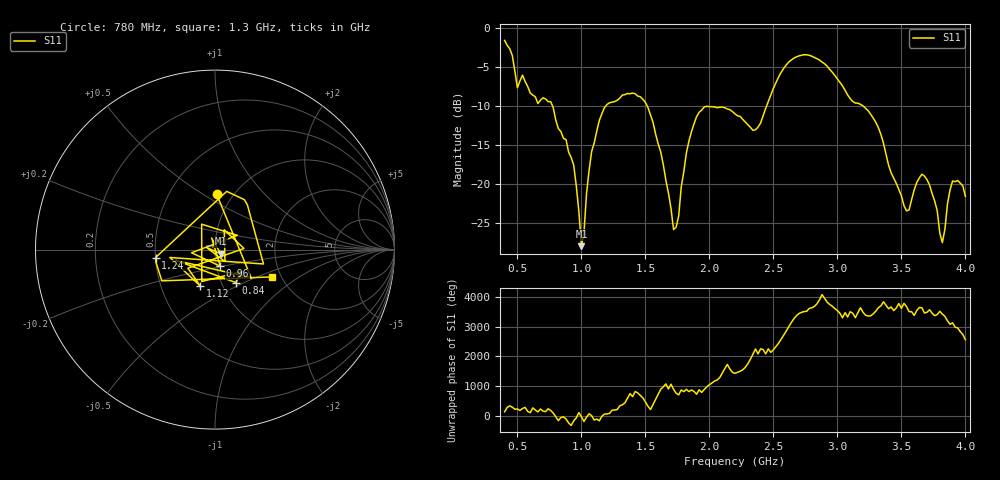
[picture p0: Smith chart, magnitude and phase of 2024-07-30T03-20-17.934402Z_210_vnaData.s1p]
!Created with skrf (http://scikit-rf.org).
# Hz S RI R 50.0
!freq ReS11 ImS11
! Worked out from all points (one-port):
!   181 points, 400 MHz to 4 GHz, reference 50 ohm
!   lowest |S11| = -28.0 dB at 1 GHz (marker M1), VSWR 1.08, Z = 53.3 - j2.48 ohm
!   |S11| at or under -10 dB: 773.9 MHz to 1.191 GHz (417.2 MHz wide, 42.5 % of centre); 1.514 GHz to 2.447 GHz (933.6 MHz wide, 47.1 % of centre); 3.2 GHz to end of sweep
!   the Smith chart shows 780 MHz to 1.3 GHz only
!   S11 on the Smith chart (normalised r, x): 780 MHz: 0.84, +0.57; 840 MHz: 1.17, -0.45; 960 MHz: 1.04, -0.19; 1.12 GHz: 0.78, -0.33; 1.24 GHz: 0.50, -0.05; 1.3 GHz: 1.80, -0.63
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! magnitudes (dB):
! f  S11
! 400 MHz  -1.6
! 500 MHz  -7.7
! 780 MHz  -10.2
! 840 MHz  -13.3
! 860 MHz  -14.1
! 960 MHz  -20.2
! 1 GHz  -28.0
! 1.06 GHz  -18.3
! 1.12 GHz  -13.2
! 1.24 GHz  -9.5
! 1.3 GHz  -9.0
! 1.5 GHz  -9.6
! 1.62 GHz  -15.9
! 1.72 GHz  -25.8
! 1.76 GHz  -24.1
! 1.82 GHz  -16.0
! 1.9 GHz  -11.4
! 2.2 GHz  -11.0
! 2.36 GHz  -13.1
! 2.66 GHz  -3.9
! 2.86 GHz  -4.1
! 3.1 GHz  -9.1
! 3.3 GHz  -12.1
! 3.56 GHz  -23.3
! 3.68 GHz  -19.0
! 3.82 GHz  -27.5
! 3.9 GHz  -19.6
! 4 GHz  -21.6
